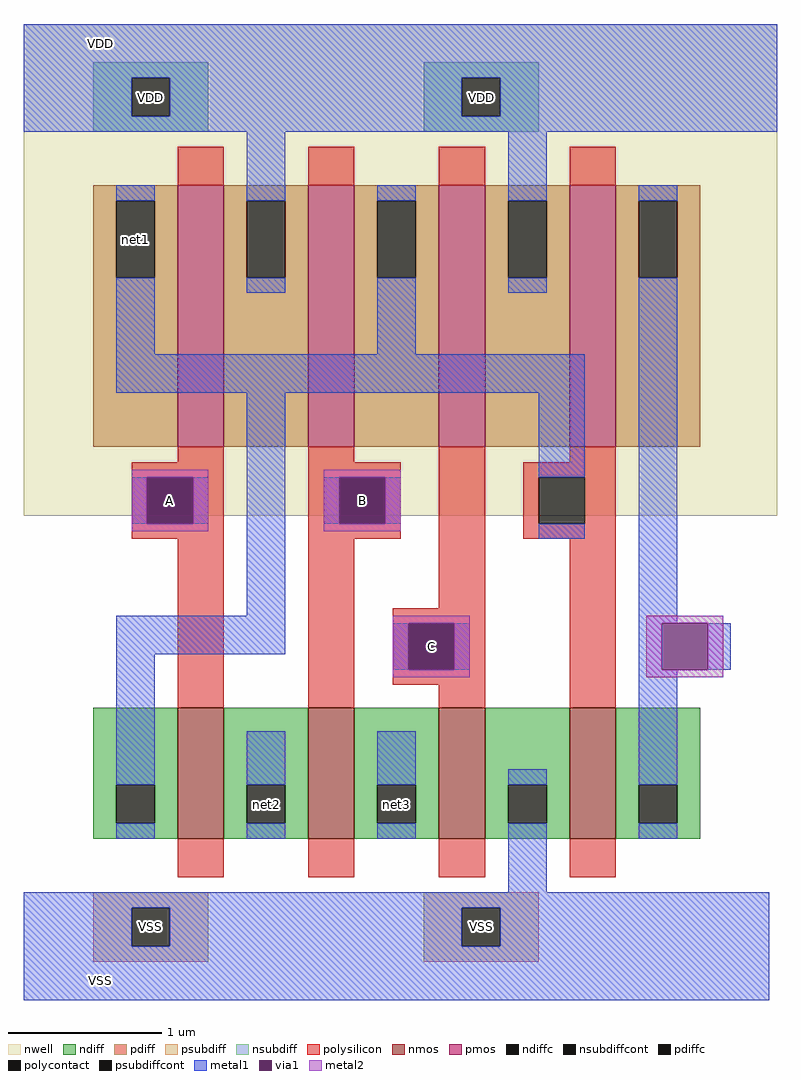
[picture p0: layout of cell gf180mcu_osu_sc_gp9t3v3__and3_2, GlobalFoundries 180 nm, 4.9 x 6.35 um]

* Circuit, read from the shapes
.subckt gf180mcu_osu_sc_gp9t3v3__and3_2 A B C VDD VSS net1 net2 net3
XM1 net2 A net1 VSS nfet_03v3 w=0.85u l=0.3u
XM2 net3 B net2 VSS nfet_03v3 w=0.85u l=0.3u
XM3 VSS C net3 VSS nfet_03v3 w=0.85u l=0.3u
XM4 n1 net1 VSS VSS nfet_03v3 w=0.85u l=0.3u
XM5 VDD A net1 VDD pfet_03v3 w=1.7u l=0.3u
XM6 net1 B VDD VDD pfet_03v3 w=1.7u l=0.3u
XM7 VDD C net1 VDD pfet_03v3 w=1.7u l=0.3u
XM8 n1 net1 VDD VDD pfet_03v3 w=1.7u l=0.3u
.ends

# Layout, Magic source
magic
tech gf180mcuD
<< nwell >>
rect -18 63 80 127
<< nmos >>
rect 2 21 8 38
rect 19 21 25 38
rect 36 21 42 38
rect 53 21 59 38
<< pmos >>
rect 2 72 8 106
rect 19 72 25 106
rect 36 72 42 106
rect 53 72 59 106
<< ndiff >>
rect -9 28 2 38
rect -9 23 -6 28
rect -1 23 2 28
rect -9 21 2 23
rect 8 28 19 38
rect 8 23 11 28
rect 16 23 19 28
rect 8 21 19 23
rect 25 28 36 38
rect 25 23 28 28
rect 33 23 36 28
rect 25 21 36 23
rect 42 28 53 38
rect 42 23 45 28
rect 50 23 53 28
rect 42 21 53 23
rect 59 28 70 38
rect 59 23 62 28
rect 67 23 70 28
rect 59 21 70 23
<< pdiff >>
rect -9 104 2 106
rect -9 94 -6 104
rect -1 94 2 104
rect -9 72 2 94
rect 8 104 19 106
rect 8 94 11 104
rect 16 94 19 104
rect 8 72 19 94
rect 25 104 36 106
rect 25 94 28 104
rect 33 94 36 104
rect 25 72 36 94
rect 42 104 53 106
rect 42 94 45 104
rect 50 94 53 104
rect 42 72 53 94
rect 59 104 70 106
rect 59 94 62 104
rect 67 94 70 104
rect 59 72 70 94
<< ndiffc >>
rect -6 23 -1 28
rect 11 23 16 28
rect 28 23 33 28
rect 45 23 50 28
rect 62 23 67 28
<< pdiffc >>
rect -6 94 -1 104
rect 11 94 16 104
rect 28 94 33 104
rect 45 94 50 104
rect 62 94 67 104
<< psubdiff >>
rect -9 12 6 14
rect -9 7 -4 12
rect 1 7 6 12
rect -9 5 6 7
rect 34 12 49 14
rect 34 7 39 12
rect 44 7 49 12
rect 34 5 49 7
<< nsubdiff >>
rect -9 120 6 122
rect -9 115 -4 120
rect 1 115 6 120
rect -9 113 6 115
rect 34 120 49 122
rect 34 115 39 120
rect 44 115 49 120
rect 34 113 49 115
<< psubdiffcont >>
rect -4 7 1 12
rect 39 7 44 12
<< nsubdiffcont >>
rect -4 115 1 120
rect 39 115 44 120
<< polysilicon >>
rect 2 106 8 111
rect 19 106 25 111
rect 36 106 42 111
rect 53 106 59 111
rect 2 70 8 72
rect -4 68 8 70
rect -4 62 -2 68
rect 4 62 8 68
rect -4 60 8 62
rect 2 38 8 60
rect 19 70 25 72
rect 19 68 31 70
rect 19 62 23 68
rect 29 62 31 68
rect 19 60 31 62
rect 19 38 25 60
rect 36 51 42 72
rect 53 70 59 72
rect 47 68 59 70
rect 47 62 49 68
rect 55 62 59 68
rect 47 60 59 62
rect 30 49 42 51
rect 30 43 32 49
rect 38 43 42 49
rect 30 41 42 43
rect 36 38 42 41
rect 53 38 59 60
rect 2 16 8 21
rect 19 16 25 21
rect 36 16 42 21
rect 53 16 59 21
<< polycontact >>
rect -2 62 4 68
rect 23 62 29 68
rect 49 62 55 68
rect 32 43 38 49
<< metal1 >>
rect -18 120 80 127
rect -18 115 -4 120
rect 1 115 39 120
rect 44 115 80 120
rect -18 113 80 115
rect -6 104 -1 106
rect -6 84 -1 94
rect 11 104 16 113
rect 11 92 16 94
rect 28 104 33 106
rect 28 84 33 94
rect 45 104 50 113
rect 45 92 50 94
rect 62 104 67 106
rect -6 79 55 84
rect -4 62 -2 68
rect 4 62 6 68
rect 11 50 16 79
rect 49 68 55 79
rect 21 62 23 68
rect 29 62 31 68
rect 49 60 55 62
rect -6 45 16 50
rect 62 49 67 94
rect -6 28 -1 45
rect 30 43 32 49
rect 38 43 40 49
rect 62 43 65 49
rect 71 43 74 49
rect -6 21 -1 23
rect 11 28 16 35
rect 11 21 16 23
rect 28 28 33 35
rect 28 21 33 23
rect 45 28 50 30
rect 45 14 50 23
rect 62 28 67 43
rect 62 21 67 23
rect -18 12 79 14
rect -18 7 -4 12
rect 1 7 39 12
rect 44 7 79 12
rect -18 0 79 7
<< via1 >>
rect -2 62 4 68
rect 23 62 29 68
rect 32 43 38 49
rect 65 43 71 49
<< metal2 >>
rect -4 68 6 69
rect -4 62 -2 68
rect 4 62 6 68
rect -4 61 6 62
rect 21 68 31 69
rect 21 62 23 68
rect 29 62 31 68
rect 21 61 31 62
rect 30 49 40 50
rect 30 43 32 49
rect 38 43 40 49
rect 30 42 40 43
rect 63 49 73 50
rect 63 43 65 49
rect 71 43 73 49
rect 63 42 73 43
<< labels >>
flabel pdiffc -6 94 -1 104 0 FreeSans 16 0 0 0 net1
flabel ndiffc 11 23 16 28 0 FreeSans 16 0 0 0 net2
flabel ndiffc 28 23 33 28 0 FreeSans 16 0 0 0 net3
rlabel nsubdiffcont -4 115 1 120 1 VDD
rlabel nsubdiffcont 39 115 44 120 1 VDD
rlabel psubdiffcont -4 7 1 12 1 VSS
rlabel psubdiffcont 39 7 44 12 1 VSS
flabel metal2 -2 62 4 68 0 FreeSans 32 0 0 0 A
flabel metal2 23 62 29 68 0 FreeSans 32 0 0 0 B
flabel metal2 32 43 38 49 0 FreeSans 32 0 0 0 C
flabel metal1 -18 122 2 127 0 FreeSans 32 0 0 0 VDD
flabel metal1 -18 0 2 5 0 FreeSans 32 0 0 0 VSS
<< end >>
